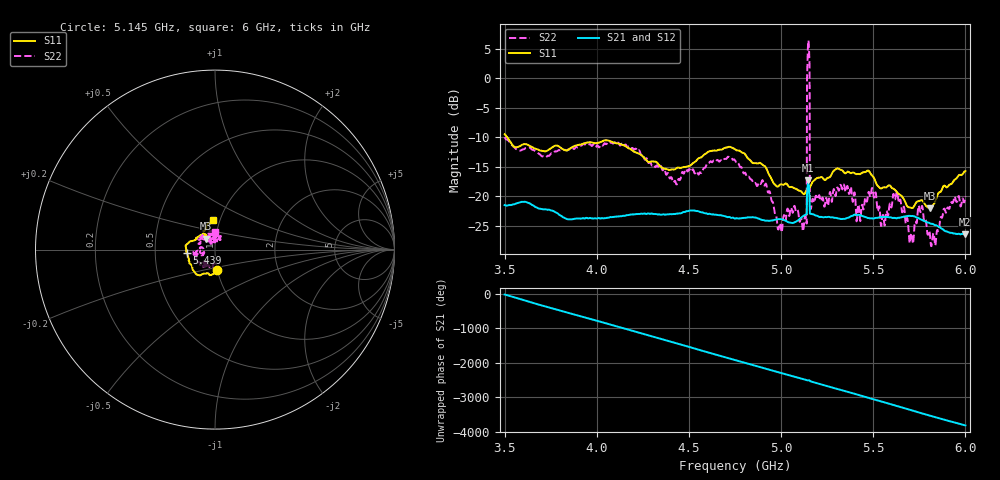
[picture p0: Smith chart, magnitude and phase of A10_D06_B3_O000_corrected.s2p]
! Created with skrf 1.9.0 (http://scikit-rf.org).
# Hz S RI R 50.0
!freq ReS11 ImS11 ReS21 ImS21 ReS12 ImS12 ReS22 ImS22
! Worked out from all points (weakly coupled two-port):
!   1601 points, 3.5 GHz to 6 GHz, reference 50 ohm
!   highest |S21| = -17.25 dB at 5.147 GHz (marker M1); lowest = -26.4 dB at 5.997 GHz (marker M2)
!   lowest |S11| = -22.0 dB at 5.808 GHz (marker M3), VSWR 1.17, Z = 44.9 + j5.56 ohm
!   |S11| at or under -10 dB: 3.514 GHz to end of sweep
!   |S22| runs from -28.4 to 6.4 dB; largest |S21 - S12| = 0.0012
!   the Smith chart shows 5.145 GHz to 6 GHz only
!   S11 on the Smith chart (normalised r, x): 5.145 GHz: 1.00, -0.23; 5.439 GHz: 0.73, -0.03; 6 GHz: 0.92, +0.31
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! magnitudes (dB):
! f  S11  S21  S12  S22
! 3.5 GHz  -9.5  -21.5  -21.4  -10.0
! 3.917 GHz  -11.2  -23.7  -23.7  -11.4
! 4.334 GHz  -14.5  -23.0  -23.0  -15.1
! 4.427 GHz  -15.4  -23.0  -22.9  -17.5
! 4.75 GHz  -12.0  -23.7  -23.7  -13.9
! 4.911 GHz  -14.8  -24.0  -24.0  -18.1
! 4.992 GHz  -18.1  -23.8  -23.8  -24.7
! 5.127 GHz  -19.6  -23.2  -23.2  -24.0
! 5.145 GHz  -18.7  -17.6  -17.6  5.0
! 5.147 GHz  -18.6  -17.3  -17.2  6.0
! 5.153 GHz  -18.5  -19.6  -19.5  3.6
! 5.167 GHz  -17.7  -23.0  -22.9  -20.9
! 5.333 GHz  -15.6  -23.8  -23.8  -18.8
! 5.439 GHz  -16.0  -23.3  -23.3  -21.4
! 5.486 GHz  -16.1  -23.7  -23.6  -19.9
! 5.584 GHz  -18.1  -23.5  -23.4  -22.5
! 5.636 GHz  -19.5  -23.6  -23.5  -20.6
! 5.706 GHz  -21.9  -23.3  -23.2  -26.2
! 5.756 GHz  -20.7  -23.8  -23.8  -22.6
! 5.808 GHz  -22.0  -24.5  -24.5  -26.4
! 5.997 GHz  -15.7  -26.4  -26.3  -20.6
! 6 GHz  -15.7  -26.4  -26.3  -20.0
